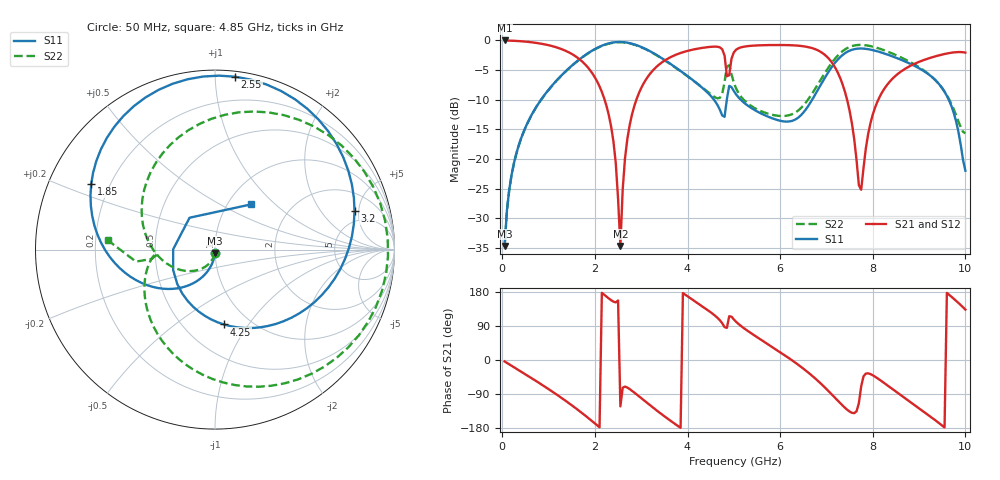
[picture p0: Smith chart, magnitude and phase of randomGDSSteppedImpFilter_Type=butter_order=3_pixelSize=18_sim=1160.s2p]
! freq	dB(S11)	phase(S11)	dB(S12)	phase(S12)
!  dB(S21)	phase(S21)	dB(S22)	phase(S22)
!S-par simulation data
#  GHz  S  DB  R 50
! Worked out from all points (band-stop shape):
!   200 points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, 50 MHz to 10 GHz, reference 50 ohm
!   highest |S21| = -0.01 dB at 50 MHz (marker M1); lowest = -34.6 dB at 2.55 GHz (marker M2)
!   |S21| within 3 dB of the highest: start of sweep to 1.64 GHz; 4.953 GHz to 7.042 GHz (2.09 GHz wide, 34.8 % of centre) (the widest 2 of 4)
!   lowest |S11| = -34.7 dB at 50 MHz (marker M3), VSWR 1.04, Z = 49.9 - j1.85 ohm
!   |S11| at or under -10 dB: start of sweep to 836.2 MHz; 5.149 GHz to 6.691 GHz (1.542 GHz wide, 26.1 % of centre); 9.641 GHz to end of sweep (the widest 3 of 4)
!   |S22| runs from -34.7 to -0.3 dB; largest |S21 - S12| = 0
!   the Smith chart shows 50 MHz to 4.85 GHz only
!   S11 on the Smith chart (normalised r, x): 50 MHz: 1.00, -0.04; 1.85 GHz: 0.13, +0.24; 2.55 GHz: 0.03, +1.12; 3.2 GHz: 3.65, +4.49; 4.25 GHz: 0.76, -0.77; 4.85 GHz: 1.27, +0.71
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0.05  -34.65 -92.0  -0.01 -3.8  -0.01 -3.8  -34.67 -94.3
0.3  -19.15 -106.3  -0.09 -22.6  -0.09 -22.6  -19.19 -119.6
0.95  -8.79 -143.2  -0.72 -72.8  -0.72 -72.8  -8.83 176.0
1.75  -2.70 160.7  -3.74 -142.7  -3.74 -142.7  -2.74 91.4
1.85  -2.16 152.2  -4.57 -152.4  -4.57 -152.4  -2.20 80.1
2.35  -0.41 104.3  -14.51 157.9  -14.51 157.9  -0.46 21.5
2.55  -0.27 83.3  -34.64 -122.3  -34.64 -122.3  -0.31 -2.2
2.75  -0.46 62.0  -14.30 -76.7  -14.30 -76.7  -0.50 -25.2
3.2  -1.87 15.4  -5.53 -120.5  -5.53 -120.5  -1.92 -72.3
3.4  -2.78 -4.2  -3.98 -139.4  -3.98 -139.4  -2.83 -90.9
4.25  -7.53 -83.2  -1.35 147.5  -1.35 147.5  -7.53 -157.8
4.75  -12.65 179.5  -1.50 96.8  -1.50 96.8  -8.93 -171.6
4.85  -9.88 51.7  -6.04 84.7  -6.04 84.7  -4.42 174.9
5.05  -9.11 -89.1  -1.56 100.7  -1.56 100.7  -8.13 121.7
6  -13.54 164.1  -0.77 20.6  -0.77 20.6  -12.73 58.3
6.7  -9.89 42.8  -1.32 -42.6  -1.32 -42.6  -8.86 44.9
7.15  -4.12 -38.8  -4.10 -95.4  -4.10 -95.4  -3.41 16.9
7.5  -1.73 -100.4  -11.87 -136.1  -11.87 -136.1  -1.10 -17.1
7.75  -1.37 -140.8  -25.16 -69.3  -25.16 -69.3  -0.76 -40.3
8.35  -2.48 134.4  -7.10 -69.9  -7.10 -69.9  -1.98 -82.8
9.15  -5.41 33.4  -3.18 -140.8  -3.18 -140.8  -5.32 -121.9
10  -21.95 3.3  -2.05 133.1  -2.05 133.1  -15.66 -110.0
